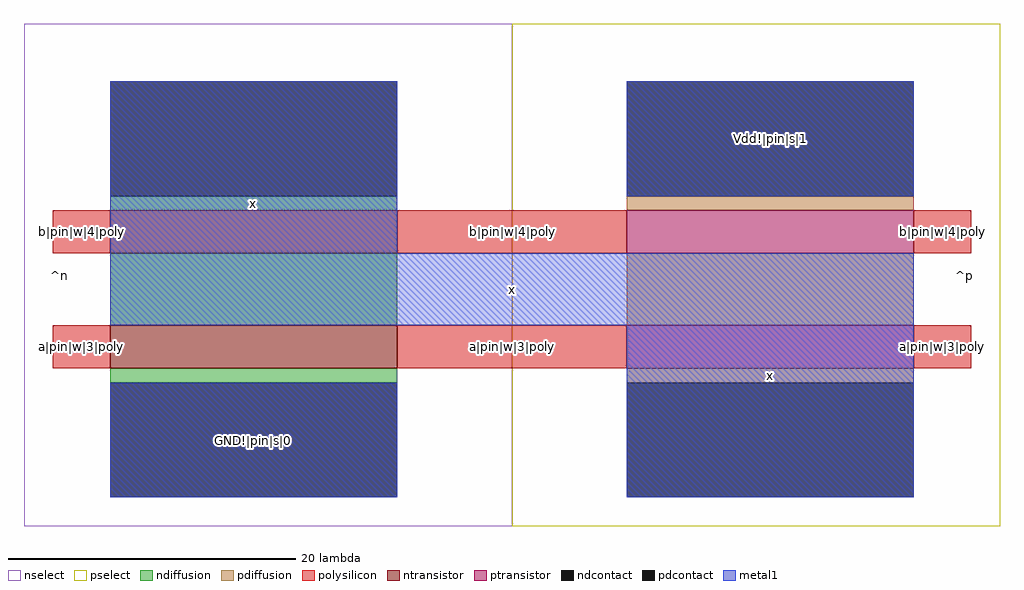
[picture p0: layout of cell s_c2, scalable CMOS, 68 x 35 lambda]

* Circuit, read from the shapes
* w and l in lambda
.subckt s_c2 GND!|pin|s|0 Vdd!|pin|s|1 a|pin|w|3|poly b|pin|w|4|poly x
M1 n1 a|pin|w|3|poly GND!|pin|s|0 VSUBS nfet w=20 l=3
M2 x b|pin|w|4|poly n1 VSUBS nfet w=20 l=3
M3 n2 a|pin|w|3|poly x NWELL pfet w=20 l=3
M4 Vdd!|pin|s|1 b|pin|w|4|poly n2 NWELL pfet w=20 l=3
.ends

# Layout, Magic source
magic
tech scmos
<< nselect >>
rect -34 283 0 318
<< pselect >>
rect 0 283 34 318
<< ndiffusion >>
rect -28 305 -8 306
rect -28 297 -8 302
rect -28 293 -8 294
<< pdiffusion >>
rect 8 305 28 306
rect 8 297 28 302
rect 8 293 28 294
<< ntransistor >>
rect -28 302 -8 305
rect -28 294 -8 297
<< ptransistor >>
rect 8 302 28 305
rect 8 294 28 297
<< polysilicon >>
rect -32 302 -28 305
rect -8 302 8 305
rect 28 302 32 305
rect -32 294 -28 297
rect -8 294 8 297
rect 28 294 32 297
<< ndcontact >>
rect -28 306 -8 314
rect -28 285 -8 293
<< pdcontact >>
rect 8 306 28 314
rect 8 285 28 293
<< metal1 >>
rect -28 302 -8 314
rect 8 306 28 314
rect -28 297 28 302
rect -28 285 -8 293
rect 8 285 28 297
<< labels >>
rlabel space -35 283 -28 318 7 ^n
rlabel space 28 283 35 318 3 ^p
rlabel polysilicon -32 294 -28 297 1 a|pin|w|3|poly
rlabel polysilicon -2 294 2 297 1 a|pin|w|3|poly
rlabel polysilicon 28 294 32 297 1 a|pin|w|3|poly
rlabel polysilicon 28 302 32 305 1 b|pin|w|4|poly
rlabel polysilicon -2 302 2 305 1 b|pin|w|4|poly
rlabel polysilicon -32 302 -28 305 1 b|pin|w|4|poly
rlabel metal1 -28 285 -8 293 1 GND!|pin|s|0
rlabel metal1 8 306 28 314 1 Vdd!|pin|s|1
rlabel metal1 8 285 28 302 1 x
rlabel metal1 -28 297 28 302 1 x
rlabel metal1 -28 297 -8 314 1 x
<< end >>
